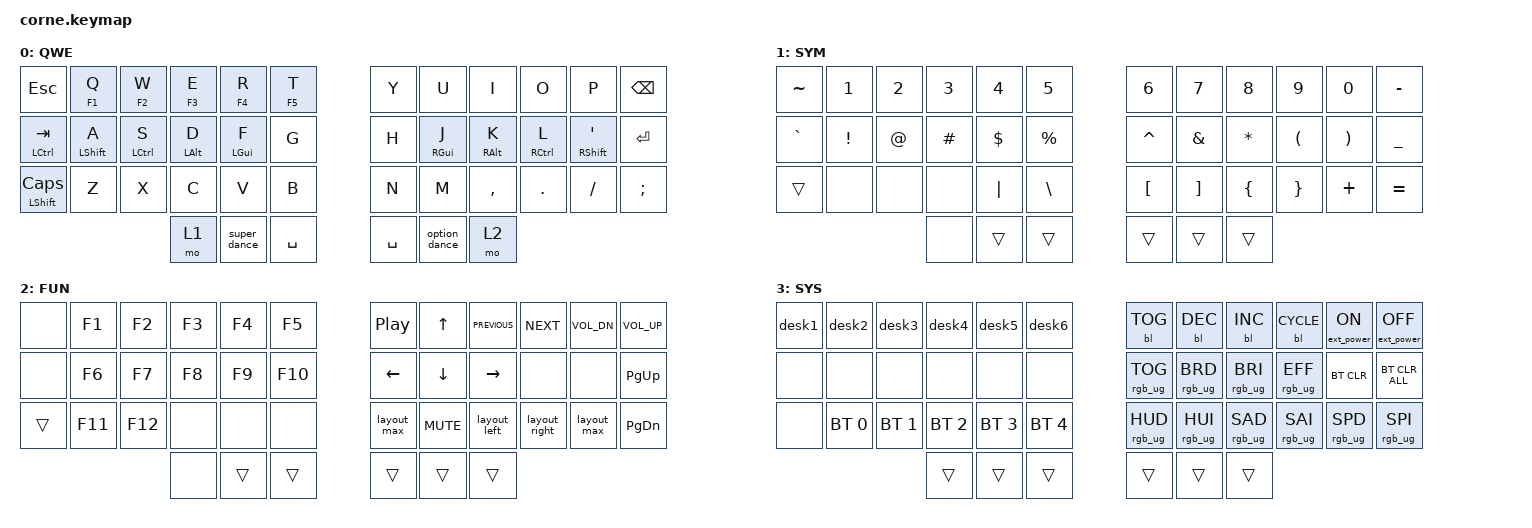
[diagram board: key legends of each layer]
/*
 * Copyright (c) 2020 The ZMK Contributors
 *
 * SPDX-License-Identifier: MIT
 */

#include <behaviors.dtsi>
#include <dt-bindings/zmk/backlight.h>
#include <dt-bindings/zmk/bt.h>
#include <dt-bindings/zmk/ext_power.h>
#include <dt-bindings/zmk/keys.h>
#include <dt-bindings/zmk/rgb.h>

/ {
    behaviors {
        mtc: mtc {
            compatible = "zmk,behavior-hold-tap";
            label = "MTC";
            bindings = <&kp>, <&kp>;

            #binding-cells = <2>;
            tapping-term-ms = <200>;
            quick-tap-ms = <175>;
            flavor = "tap-preferred";
            hold-trigger-on-release;
        };

        super_dance: super_dance {
            compatible = "zmk,behavior-tap-dance";
            label = "SUPER_DANCE";
            #binding-cells = <0>;
            bindings = <&kp LEFT_GUI>, <&raycastapp>;

            tapping-term-ms = <200>;
        };

        option_dance: option_dance {
            compatible = "zmk,behavior-tap-dance";
            label = "OPTION_DANCE";
            #binding-cells = <0>;
            tapping-term-ms = <200>;
            bindings = <&kp RIGHT_ALT>, <&homerowapp>;
        };

        upper_dance: upper_dance {
            compatible = "zmk,behavior-tap-dance";
            label = "UPPER_DANCE";
            #binding-cells = <0>;
            tapping-term-ms = <200>;
            bindings = <&mo 1>, <&kp LG(TAB)>;
        };
    };

    macros {
        layout_left: layout_left {
            compatible = "zmk,behavior-macro";
            #binding-cells = <0>;
            bindings = <&kp LA(LG(LEFT))>;
            label = "LAYOUT_LEFT";
        };

        layout_right: layout_right {
            compatible = "zmk,behavior-macro";
            #binding-cells = <0>;
            bindings = <&kp LA(LG(RIGHT))>;
            label = "LAYOUT_RIGHT";
        };

        layout_max: layout_max {
            compatible = "zmk,behavior-macro";
            #binding-cells = <0>;
            bindings = <&kp LA(LG(UP_ARROW))>;
            label = "LAYOUT_MAX";
        };

        desk1: desk1 {
            compatible = "zmk,behavior-macro";
            #binding-cells = <0>;
            bindings = <&kp LG(NUMBER_1)>;
            label = "DESK1";
        };

        desk2: desk2 {
            compatible = "zmk,behavior-macro";
            #binding-cells = <0>;
            bindings = <&kp LG(NUMBER_2)>;
            label = "DESK2";
        };

        desk3: desk3 {
            compatible = "zmk,behavior-macro";
            #binding-cells = <0>;
            bindings = <&kp LG(NUMBER_3)>;
            label = "DESK3";
        };

        desk4: desk4 {
            compatible = "zmk,behavior-macro";
            #binding-cells = <0>;
            bindings = <&kp LG(NUMBER_4)>;
            label = "DESK4";
        };

        desk5: desk5 {
            compatible = "zmk,behavior-macro";
            #binding-cells = <0>;
            bindings = <&kp LG(N5)>;
            label = "DESK5";
        };

        desk6: desk6 {
            compatible = "zmk,behavior-macro";
            #binding-cells = <0>;
            bindings = <&kp LG(NUMBER_6)>;
            label = "DESK6";
        };

        homerowapp: homerowapp {
            compatible = "zmk,behavior-macro";
            #binding-cells = <0>;
            bindings = <&kp LS(LG(SPACE))>;
            label = "HOMEROWAPP";
        };

        raycastapp: raycastapp {
            compatible = "zmk,behavior-macro";
            #binding-cells = <0>;
            bindings = <&kp LG(SPACE)>;
            label = "RAYCASTAPP";
        };
    };

    keymap {
        compatible = "zmk,keymap";

        base {
            display-name = "QWE";

            // -----------------------------------------------------------------------------------------
            // |  TAB |  Q  |  W  |  E  |  R  |  T  |   |  Y  |  U   |  I  |  O  |  P  | BSPC |
            // | CTRL |  A  |  S  |  D  |  F  |  G  |   |  H  |  J   |  K  |  L  |  ;  |  '   |
            // | SHFT |  Z  |  X  |  C  |  V  |  B  |   |  N  |  M   |  ,  |  .  |  /  | ESC  |
            //                    | GUI | LWR | SPC |   | ENT | RSE  | ALT |

            bindings = <
&kp ESC          &mtc F1 Q          &mtc F2 W     &mtc F3 E        &mtc F4 R        &mtc F5 T    &kp Y      &kp U             &kp I             &kp O         &kp P                  &kp BACKSPACE
&mtc LCTRL TAB   &mtc LEFT_SHIFT A  &mtc LCTRL S  &mtc LEFT_ALT D  &mtc LEFT_GUI F  &kp G        &kp H      &mtc RIGHT_GUI J  &mtc RIGHT_ALT K  &mtc RCTRL L  &mtc RIGHT_SHIFT APOS  &kp ENTER
&mtc LSHFT CAPS  &kp Z              &kp X         &kp C            &kp V            &kp B        &kp N      &kp M             &kp COMMA         &kp DOT       &kp FSLH               &kp SEMICOLON
                                                  &mo 1            &super_dance     &kp SPACE    &kp SPACE  &option_dance     &mo 2
            >;
        };

        upper {
            display-name = "SYM";

            // -----------------------------------------------------------------------------------------
            // |  TAB |  1  |  2  |  3  |  4  |  5  |   |  6  |  7  |  8  |  9  |  0  | BSPC |
            // | BTCLR| BT1 | BT2 | BT3 | BT4 | BT5 |   | LFT | DWN |  UP | RGT |     |      |
            // | SHFT |     |     |     |     |     |   |     |     |     |     |     |      |
            //                    | GUI |     | SPC |   | ENT |     | ALT |

            bindings = <
&kp TILDE  &kp N1           &kp N2       &kp N3    &kp N4      &kp N5           &kp N6            &kp N7             &kp N8          &kp N9                &kp N0                 &kp MINUS
&kp GRAVE  &kp EXCLAMATION  &kp AT_SIGN  &kp HASH  &kp DOLLAR  &kp PERCENT      &kp CARET         &kp AMPERSAND      &kp ASTERISK    &kp LEFT_PARENTHESIS  &kp RIGHT_PARENTHESIS  &kp UNDERSCORE
&trans     &none            &none        &none     &kp PIPE    &kp BACKSLASH    &kp LEFT_BRACKET  &kp RIGHT_BRACKET  &kp LEFT_BRACE  &kp RIGHT_BRACE       &kp PLUS               &kp EQUAL
                                         &none     &trans      &trans           &trans            &trans             &trans
            >;
        };

        lower {
            display-name = "FUN";

            // -----------------------------------------------------------------------------------------
            // |  TAB |  !  |  @  |  #  |  $  |  %  |   |  ^  |  &  |  *  |  (  |  )  | BSPC |
            // | CTRL |     |     |     |     |     |   |  -  |  =  |  [  |  ]  |  \  |  `   |
            // | SHFT |     |     |     |     |     |   |  _  |  +  |  {  |  }  | "|" |  ~   |
            //                    | GUI |     | SPC |   | ENT |     | ALT |

            bindings = <
&none   &kp F1   &kp F2   &kp F3  &kp F4  &kp F5     &kp C_PLAY_PAUSE  &kp UP_ARROW    &kp C_PREVIOUS   &kp C_NEXT     &kp C_VOL_DN  &kp C_VOL_UP
&none   &kp F6   &kp F7   &kp F8  &kp F9  &kp F10    &kp LEFT_ARROW    &kp DOWN_ARROW  &kp RIGHT_ARROW  &none          &none         &kp PG_UP
&trans  &kp F11  &kp F12  &none   &none   &none      &layout_max       &kp C_MUTE      &layout_left     &layout_right  &layout_max   &kp PG_DN
                          &none   &trans  &trans     &trans            &trans          &trans
            >;
        };

        system {
            display-name = "SYS";
            bindings = <
&desk1  &desk2        &desk3        &desk4        &desk5        &desk6          &bl BL_TOG       &bl BL_DEC       &bl BL_INC       &bl BL_CYCLE     &ext_power EP_ON  &ext_power EP_OFF
&none   &none         &none         &none         &none         &none           &rgb_ug RGB_TOG  &rgb_ug RGB_BRD  &rgb_ug RGB_BRI  &rgb_ug RGB_EFF  &bt BT_CLR        &bt BT_CLR_ALL
&none   &bt BT_SEL 0  &bt BT_SEL 1  &bt BT_SEL 2  &bt BT_SEL 3  &bt BT_SEL 4    &rgb_ug RGB_HUD  &rgb_ug RGB_HUI  &rgb_ug RGB_SAD  &rgb_ug RGB_SAI  &rgb_ug RGB_SPD   &rgb_ug RGB_SPI
                                    &trans        &trans        &trans          &trans           &trans           &trans
            >;
        };
    };

    conditional_layers {
        compatible = "zmk,conditional-layers";

        system {
            if-layers = <1 2>;
            then-layer = <3>;
        };
    };
};
